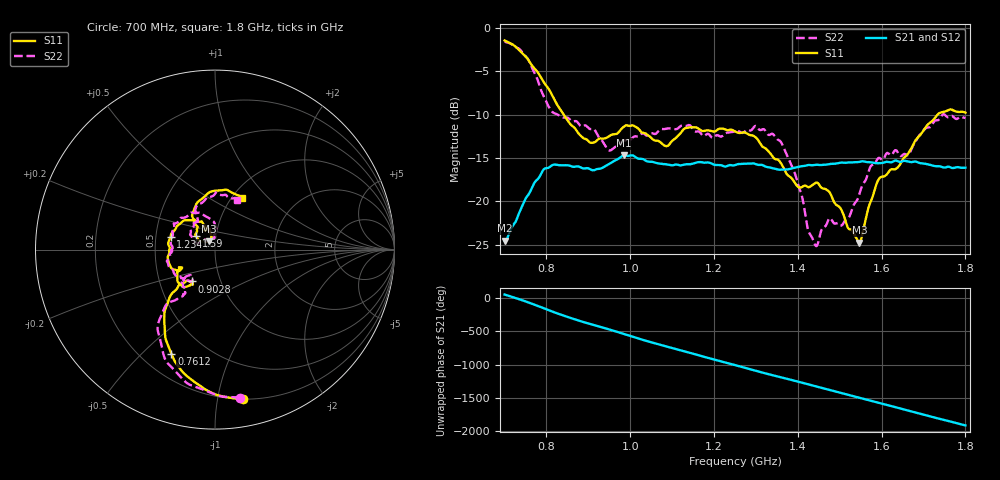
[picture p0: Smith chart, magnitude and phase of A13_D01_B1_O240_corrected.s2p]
! Created with skrf 1.9.0 (http://scikit-rf.org).
# Hz S RI R 50.0
!freq ReS11 ImS11 ReS21 ImS21 ReS12 ImS12 ReS22 ImS22
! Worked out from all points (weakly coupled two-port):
!   1601 points, 700 MHz to 1.8 GHz, reference 50 ohm
!   highest |S21| = -14.67 dB at 985.3 MHz (marker M1); lowest = -24.6 dB at 700.7 MHz (marker M2)
!   lowest |S11| = -24.8 dB at 1.547 GHz (marker M3), VSWR 1.12, Z = 46.5 + j4.29 ohm
!   |S11| at or under -10 dB: 841.3 MHz to 1.733 GHz (891.9 MHz wide, 69.3 % of centre)
!   |S22| runs from -25.2 to -1.6 dB; largest |S21 - S12| = 0.0037
!   S11 on the Smith chart (normalised r, x): 700 MHz: 0.20, -1.19; 761.2 MHz: 0.32, -0.62; 902.8 MHz: 0.73, -0.27; 1.234 GHz: 0.60, +0.09; 1.59 GHz: 0.80, +0.12; 1.8 GHz: 1.12, +0.72
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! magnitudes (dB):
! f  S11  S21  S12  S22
! 700 MHz  -1.4  -24.6  -24.3  -1.6
! 700.7 MHz  -1.4  -24.6  -24.3  -1.6
! 761.2 MHz  -4.0  -18.9  -18.8  -4.1
! 811.4 MHz  -7.5  -15.9  -15.8  -9.5
! 883.6 MHz  -12.5  -16.1  -16.0  -11.4
! 902.8 MHz  -13.2  -16.3  -16.2  -11.6
! 949.6 MHz  -12.5  -15.7  -15.7  -14.1
! 985.3 MHz  -11.3  -14.7  -14.8  -13.0
! 1.067 GHz  -13.0  -15.6  -15.6  -11.9
! 1.234 GHz  -11.8  -15.9  -15.9  -12.1
! 1.25 GHz  -11.9  -15.8  -15.8  -11.9
! 1.359 GHz  -15.6  -16.3  -16.3  -13.1
! 1.394 GHz  -17.9  -16.1  -16.1  -16.9
! 1.434 GHz  -18.2  -15.8  -15.8  -24.2
! 1.476 GHz  -19.0  -15.7  -15.7  -21.9
! 1.507 GHz  -21.3  -15.5  -15.5  -22.7
! 1.547 GHz  -24.8  -15.4  -15.4  -19.2
! 1.59 GHz  -17.8  -15.6  -15.6  -15.2
! 1.617 GHz  -16.6  -15.5  -15.4  -14.5
! 1.663 GHz  -14.5  -15.4  -15.4  -14.7
! 1.736 GHz  -9.9  -15.9  -16.0  -10.6
! 1.8 GHz  -9.8  -16.1  -16.1  -10.4
